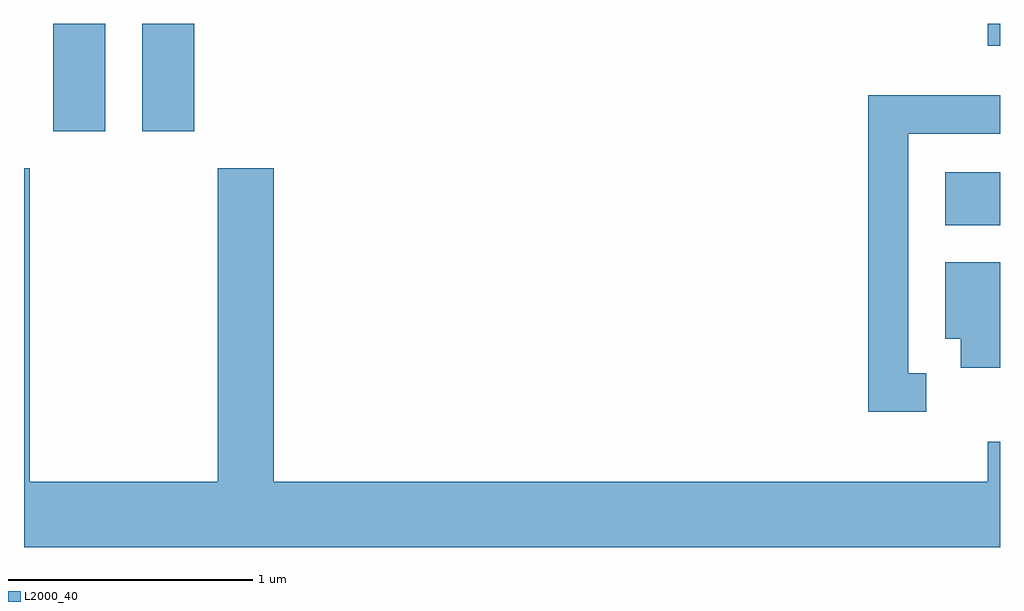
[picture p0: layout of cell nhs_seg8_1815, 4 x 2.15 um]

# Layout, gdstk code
import gdstk
lib = gdstk.Library(unit=1e-6, precision=1e-09)
def R(c, l, rs):  # rectangles x0, y0, x1, y1
    for r in rs: c.add(gdstk.rectangle(r[:2], r[2:], *l))
def P(c, l, *ps):  # polygons
    for p in ps: c.add(gdstk.Polygon(p, *l))
L2000_40 = (2000, 40)

nhs_seg8_1815 = lib.new_cell('nhs_seg8_1815')
R(nhs_seg8_1815, L2000_40, [(243.386,1835.516,243.611,1835.734), (239.731,1835.901,239.944,1836.342), (240.096,1835.901,240.309,1836.342), (243.561,1836.251,243.611,1836.342)])
P(nhs_seg8_1815, L2000_40, [(243.308,1834.909),(243.234,1834.909),(243.234,1835.891),(243.611,1835.891),(243.611,1836.049),(243.071,1836.049),(243.071,1834.751),(243.308,1834.751)],
  [(243.611,1834.629),(243.561,1834.629),(243.561,1834.464),(240.634,1834.464),(240.634,1835.749),(240.406,1835.749),(240.406,1834.464),(239.634,1834.464),(239.634,1835.749),(239.611,1835.749),(239.611,1834.196),(243.611,1834.196)],
  [(243.611,1835.364),(243.386,1835.364),(243.386,1835.051),(243.451,1835.051),(243.451,1834.931),(243.611,1834.931)])

lib.write_gds('nhs_seg8_1815.gds')
